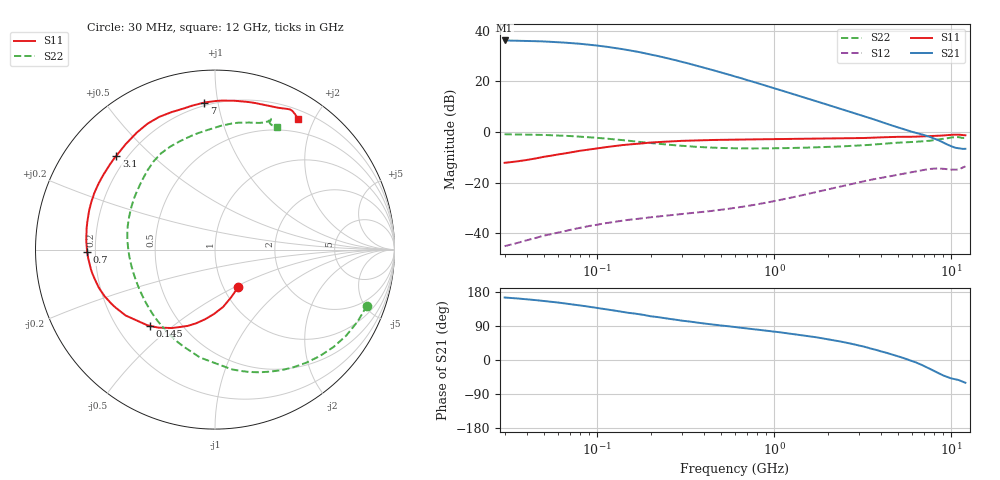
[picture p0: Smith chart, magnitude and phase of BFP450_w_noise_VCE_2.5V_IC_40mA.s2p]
! (c) 2015  Infineon Technologies AG, Munich
! Infineon Technologies  Discrete & RF Semiconductors
! BFP450
! VCE =  2.5 V,  IC =  40 mA
! Common Emitter S-Parameters:  Nov 2015
# GHz  S  MA  R  50
!  f  S11  S21  S12  S22
! GHz  MAG  ANG  MAG  ANG  MAG  ANG  MAG  ANG
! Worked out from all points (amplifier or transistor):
!   239 points, 30 MHz to 12 GHz, reference 50 ohm
!   highest |S21| = 36.2 dB at 30 MHz (marker M1)
!   |S21| within 3 dB of that: start of sweep to 126.7 MHz
!   unconditionally stable (mu >= 1): 1.272 GHz to end of sweep
!   at 300 MHz: K = 0.48, MSG = 30.1 dB, |S12| = -32.5 dB
!   at 1.88 GHz: K = 1.08, MAG = 15.5 dB, |S12| = -23.2 dB
!   at 12 GHz: K = 1.09, MAG = 1.6 dB, |S12| = -13.6 dB
!   lowest NFmin = 1.41 dB at 450 MHz
!   S11 on the Smith chart (normalised r, x): 30 MHz: 1.17, -0.52; 145 MHz: 0.34, -0.42; 700 MHz: 0.17, -0.01; 3.1 GHz: 0.16, +0.39; 7 GHz: 0.18, +0.91; 12 GHz: 0.32, +1.78
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0.03  0.2455 -58.2  64.81 164.9  0.0055 79.3  0.9026 -20.2
0.04  0.2795 -71.0  63.49 160.3  0.0072 75.2  0.8899 -26.8
0.05  0.3229 -82.0  61.96 155.7  0.0089 71.4  0.8741 -33.3
0.06  0.3591 -91.0  59.94 151.7  0.0102 69.2  0.8546 -39.4
0.07  0.392 -98.1  57.8 147.4  0.0115 66.1  0.8325 -45.4
0.085  0.4377 -107.2  54.55 142.3  0.0132 61.4  0.7985 -53.6
0.1  0.475 -114.7  51.3 137.3  0.0146 58.4  0.7668 -61.2
0.11  0.4983 -118.7  49.26 134.4  0.0156 56.5  0.7456 -65.8
0.145  0.5592 -130.7  42.55 125.7  0.018 51.4  0.681 -80.2
0.2  0.6187 -143.6  34.12 115.5  0.0205 46.9  0.6071 -97.9
0.24  0.6411 -149.7  29.74 110.5  0.0219 45.2  0.5696 -107.4
0.3  0.6677 -157.1  24.48 103.9  0.0238 44.0  0.533 -119.8
0.36  0.682 -162.3  20.77 99.3  0.0253 43.8  0.5099 -128.9
0.45  0.695 -168.3  16.73 93.5  0.0276 44.4  0.49 -139.6
0.6  0.7071 -175.3  12.54 86.7  0.0315 46.3  0.4761 -152.0
0.7  0.7122 -178.8  10.69 83.2  0.0342 47.5  0.4733 -158.0
1  0.7211 173.0  7.31 74.8  0.0428 49.6  0.4757 -171.1
1.64  0.7368 160.1  4.295 61.6  0.0622 48.8  0.4944 171.1
3.1  0.7583 136.5  2.145 36.9  0.1035 36.1  0.5431 143.1
4.5  0.7961 118.1  1.384 16.1  0.1331 22.1  0.5993 124.7
7  0.8216 94.1  0.872 -15.7  0.1784 -2.5  0.6556 98.3
12  0.8608 57.5  0.465 -60.1  0.2086 -40.9  0.7644 63.3
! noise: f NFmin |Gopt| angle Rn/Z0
0.45  1.41  0.49  -173  0.06
0.9  1.48  0.51  -169  0.07
1.9  1.59  0.57  -153  0.1
2.4  1.69  0.58  -145  0.12
